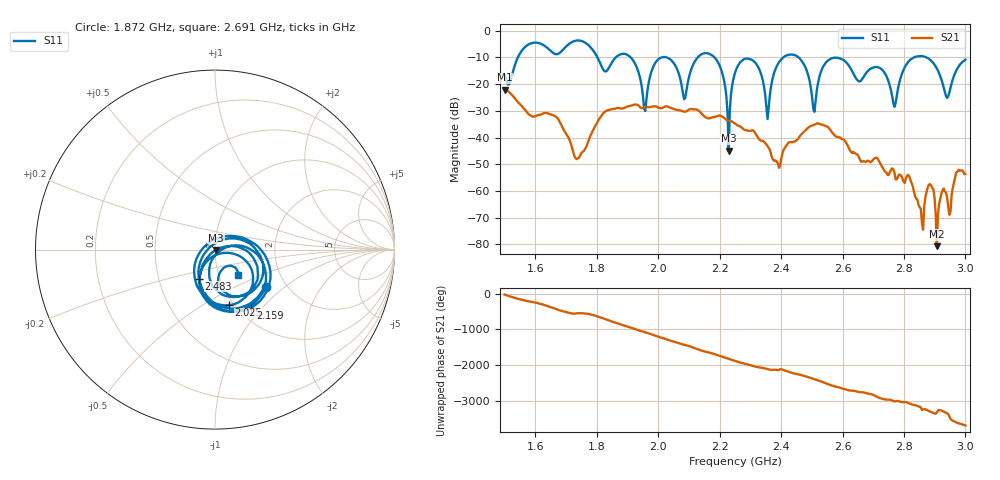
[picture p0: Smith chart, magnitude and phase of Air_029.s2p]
# HZ S RI R 50
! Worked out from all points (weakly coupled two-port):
!   404 points, 1.5 GHz to 3 GHz, reference 50 ohm
!   highest |S21| = -22.09 dB at 1.5 GHz (marker M1); lowest = -80.7 dB at 2.907 GHz (marker M2)
!   lowest |S11| = -44.9 dB at 2.23 GHz (marker M3), VSWR 1.01, Z = 50.5 - j0.146 ohm
!   |S11| at or under -10 dB: 2.183 GHz to 2.407 GHz (223.8 MHz wide, 9.75 % of centre); 2.457 GHz to 2.833 GHz (375.7 MHz wide, 14.2 % of centre); 2.873 GHz to end of sweep (the widest 3 of 7)
!   S12 and S22 are empty: the file has one direction only
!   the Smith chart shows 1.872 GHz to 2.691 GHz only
!   S11 on the Smith chart (normalised r, x): 1.872 GHz: 1.57, -0.75; 2.025 GHz: 0.95, -0.66; 2.159 GHz: 1.14, -0.87; 2.483 GHz: 0.79, -0.27; 2.691 GHz: 1.24, -0.37
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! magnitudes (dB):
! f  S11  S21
! 1.5 GHz  -16.6  -22.1
! 1.753 GHz  -3.9  -45.4
! 1.872 GHz  -9.1  -28.9
! 1.958 GHz  -30.1  -28.6
! 2.002 GHz  -10.5  -28.9
! 2.025 GHz  -9.9  -28.3
! 2.084 GHz  -25.6  -30.3
! 2.159 GHz  -8.4  -32.7
! 2.23 GHz  -44.9  -33.6
! 2.252 GHz  -15.1  -34.9
! 2.315 GHz  -11.9  -38.1
! 2.356 GHz  -33.1  -43.3
! 2.39 GHz  -12.5  -49.7
! 2.483 GHz  -14.6  -36.9
! 2.501 GHz  -25.1  -35.5
! 2.561 GHz  -10.5  -37.2
! 2.691 GHz  -14.2  -49.3
! 2.751 GHz  -19.3  -54.0
! 2.888 GHz  -11.2  -57.9
! 2.907 GHz  -14.1  -80.7
! 2.94 GHz  -25.2  -62.5
! 3 GHz  -10.8  -53.7
